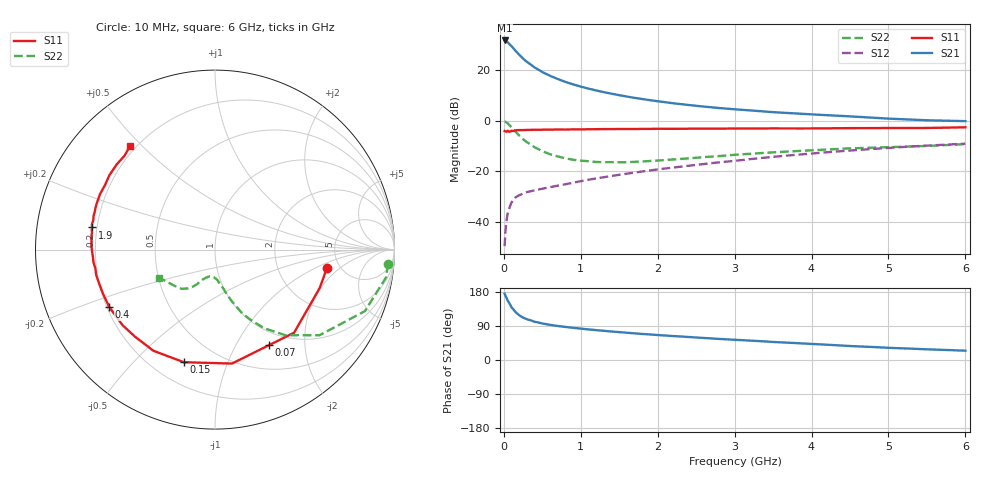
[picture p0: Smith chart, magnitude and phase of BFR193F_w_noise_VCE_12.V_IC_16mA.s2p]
! Infineon Technologies  Discrete & RF Semiconductors
! BFR193F
! VCE =  12. V,  IC =  16 mA
! Common Emitter S-Parameters:  Jan 2017
# GHz  S  MA  R  50
!  f  S11  S21  S12  S22
! GHz  MAG  ANG  MAG  ANG  MAG  ANG  MAG  ANG
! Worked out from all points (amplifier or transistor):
!   77 points, 10 MHz to 6 GHz, reference 50 ohm
!   highest |S21| = 31.9 dB at 10 MHz (marker M1)
!   |S21| within 3 dB of that: start of sweep to 121.4 MHz
!   unconditionally stable (mu >= 1): 1.46 GHz to 2.762 GHz
!   at 130 MHz: K = 0.24, MSG = 29.9 dB, |S12| = -31.1 dB
!   at 2.2 GHz: K = 1.04, MAG = 11.6 dB, |S12| = -18.5 dB
!   at 6 GHz: K = 0.81, MSG = 4.5 dB, |S12| = -9.0 dB
!   lowest NFmin = 0.97 dB at 450 MHz
!   S11 on the Smith chart (normalised r, x): 10 MHz: 3.96, -1.33; 70 MHz: 0.81, -1.38; 150 MHz: 0.33, -0.71; 400 MHz: 0.21, -0.24; 1.9 GHz: 0.18, +0.09; 6 GHz: 0.18, +0.46
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0.01  0.6322 -9.2  39.36 175.0  0.0033 77.4  0.968 -4.8
0.02  0.6215 -20.1  38.71 169.9  0.0062 78.7  0.9652 -9.3
0.05  0.6392 -46.4  36.37 156.9  0.0148 68.4  0.9028 -22.3
0.07  0.6117 -60.4  33.61 150.5  0.0185 62.8  0.8344 -28.4
0.1  0.642 -81.5  30.43 138.9  0.0243 57.7  0.7531 -39.3
0.15  0.651 -105.5  24.79 126.7  0.0303 49.9  0.6172 -50.6
0.2  0.6598 -121.3  20.47 118.1  0.0338 45.4  0.5155 -58.1
0.25  0.6588 -132.6  17.18 112.0  0.0363 44.1  0.435 -63.4
0.3  0.6654 -140.7  14.8 107.6  0.0389 42.8  0.3796 -67.2
0.4  0.6706 -151.5  11.46 100.9  0.0421 43.7  0.3006 -72.1
0.5  0.6707 -158.6  9.325 96.4  0.0454 45.4  0.2522 -75.5
0.6  0.6727 -163.8  7.854 92.8  0.0487 48.4  0.219 -78.3
0.7  0.6769 -168.1  6.779 89.8  0.0522 50.1  0.1984 -81.0
0.9  0.6808 -174.1  5.314 84.9  0.0597 54.8  0.1702 -85.5
1.1  0.684 -178.5  4.373 80.7  0.0684 58.6  0.159 -90.2
1.5  0.692 174.9  3.242 73.6  0.0857 63.4  0.1522 -99.0
1.9  0.6959 169.8  2.579 67.4  0.1047 66.6  0.161 -106.2
2.1  0.6988 167.4  2.35 64.6  0.1143 67.9  0.1682 -109.1
3.1  0.7077 158.0  1.66 52.3  0.1683 70.5  0.2183 -117.7
4.1  0.712 148.6  1.325 41.4  0.2327 69.4  0.2667 -125.7
5.1  0.7245 138.1  1.095 31.4  0.2987 65.3  0.3056 -139.6
6  0.7482 129.2  0.992 24.6  0.3546 60.2  0.3471 -153.2
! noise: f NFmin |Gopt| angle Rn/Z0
0.45  0.97  0.28  157  0.06
0.9  1.06  0.38  161  0.06
1.9  1.7  0.58  -173  0.06
2.4  2  0.61  -163  0.09
